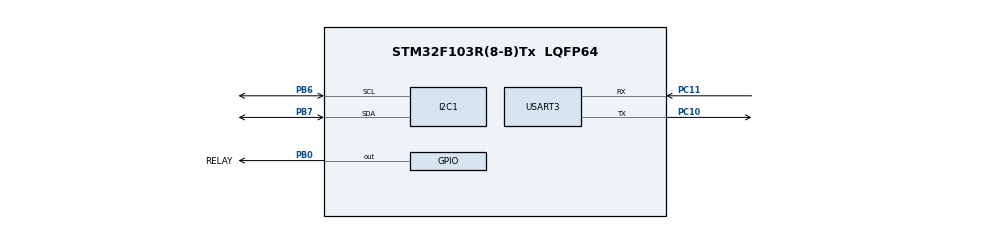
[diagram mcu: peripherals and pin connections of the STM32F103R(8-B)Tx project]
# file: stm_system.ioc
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Mcu.Family=STM32F1
Mcu.Name=STM32F103R(8-B)Tx
Mcu.Package=LQFP64
NVIC.PriorityGroup=NVIC_PRIORITYGROUP_4
NVIC.USART3_IRQn=true\:0\:0\:false\:false\:true\:true\:true\:true
PA13.Mode=Serial_Wire
PA13.Signal=SYS_JTMS-SWDIO
PA14.Mode=Serial_Wire
PA14.Signal=SYS_JTCK-SWCLK
PB0.GPIO_Label=RELAY
PB0.PinState=GPIO_PIN_SET
PB0.Signal=GPIO_Output
PB6.Mode=I2C
PB6.Signal=I2C1_SCL
PB7.Mode=I2C
PB7.Signal=I2C1_SDA
PC10.Mode=Asynchronous
PC10.Signal=USART3_TX
PC11.Mode=Asynchronous
PC11.Signal=USART3_RX
ProjectManager.HeapSize=0x200
ProjectManager.StackSize=0x400
ProjectManager.TargetToolchain=STM32CubeIDE
RCC.APB1Freq_Value=8000000
RCC.APB1TimFreq_Value=8000000
RCC.APB2Freq_Value=8000000
USART3.VirtualMode=VM_ASYNC
board=custom

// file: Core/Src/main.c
/* USER CODE BEGIN Header */
/**
  ******************************************************************************
  * @file           : main.c
  * @brief          : Main program body
  ******************************************************************************
  * @attention
  *
  * Copyright (c) 2026 STMicroelectronics.
  * All rights reserved.
  *
  * This software is licensed under terms that can be found in the LICENSE file
  * in the root directory of this software component.
  * If no LICENSE file comes with this software, it is provided AS-IS.
  *
  ******************************************************************************
  */
/* USER CODE END Header */
#include "main.h"
#include "i2c.h"
#include "usart.h"
#include "gpio.h"

/* USER CODE BEGIN Includes */
#include <stdint.h>
#include "sensor.h"
#include "uart_parser.h"
/* USER CODE END Includes */

/* USER CODE BEGIN PV */
uint8_t rx_byte;   // USART3 수신 1바이트 버퍼
/* USER CODE END PV */

void SystemClock_Config(void);

int main(void)
{

  /* MCU Configuration--------------------------------------------------------*/

  /* Reset of all peripherals, Initializes the Flash interface and the Systick. */
  HAL_Init();

  /* Configure the system clock */
  SystemClock_Config();

  /* Initialize all configured peripherals */
  MX_GPIO_Init();
  MX_USART3_UART_Init();
  MX_I2C1_Init();
  /* USER CODE BEGIN 2 */
  HAL_UART_Receive_IT(&huart3, &rx_byte, 1);
//  test_relay_boot();

  /* USER CODE END 2 */

  /* Infinite loop */
  /* USER CODE BEGIN WHILE */
  while (1)
  {
	 sensor_read_all(); // 센서 값을 읽는다
	 sensor_check_threshold(); // 이상치를 확인하고 있으면 처리한다.

	 auto_recovery_fsm();

	 for (int i = 0; i < 10; i++) {
	     uart_poll();
	 }
	 HAL_Delay(300);

    /* USER CODE END WHILE */

  }
}

void SystemClock_Config(void)
{
  RCC_OscInitTypeDef RCC_OscInitStruct = {0};
  RCC_ClkInitTypeDef RCC_ClkInitStruct = {0};

  /** Initializes the RCC Oscillators according to the specified parameters
  * in the RCC_OscInitTypeDef structure.
  */
  RCC_OscInitStruct.OscillatorType = RCC_OSCILLATORTYPE_HSI;
  RCC_OscInitStruct.HSIState = RCC_HSI_ON;
  RCC_OscInitStruct.HSICalibrationValue = RCC_HSICALIBRATION_DEFAULT;
  RCC_OscInitStruct.PLL.PLLState = RCC_PLL_NONE;
  if (HAL_RCC_OscConfig(&RCC_OscInitStruct) != HAL_OK)
  {
    Error_Handler();
  }

  /** Initializes the CPU, AHB and APB buses clocks
  */
  RCC_ClkInitStruct.ClockType = RCC_CLOCKTYPE_HCLK|RCC_CLOCKTYPE_SYSCLK
                              |RCC_CLOCKTYPE_PCLK1|RCC_CLOCKTYPE_PCLK2;
  RCC_ClkInitStruct.SYSCLKSource = RCC_SYSCLKSOURCE_HSI;
  RCC_ClkInitStruct.AHBCLKDivider = RCC_SYSCLK_DIV1;
  RCC_ClkInitStruct.APB1CLKDivider = RCC_HCLK_DIV1;
  RCC_ClkInitStruct.APB2CLKDivider = RCC_HCLK_DIV1;

  if (HAL_RCC_ClockConfig(&RCC_ClkInitStruct, FLASH_LATENCY_0) != HAL_OK)
  {
    Error_Handler();
  }
}

/* USER CODE BEGIN 4 */
void HAL_UART_RxCpltCallback(UART_HandleTypeDef *huart)
{
    if (huart->Instance == USART3)
    {
        uart_rx_byte(rx_byte);   // 1바이트 파서에 전달
        HAL_UART_Receive_IT(&huart3, &rx_byte, 1);  // 다음 바이트 수신
    }
}

/* USER CODE END 4 */

void Error_Handler(void)
{
  __disable_irq();
  while (1)
  {
  }
}
